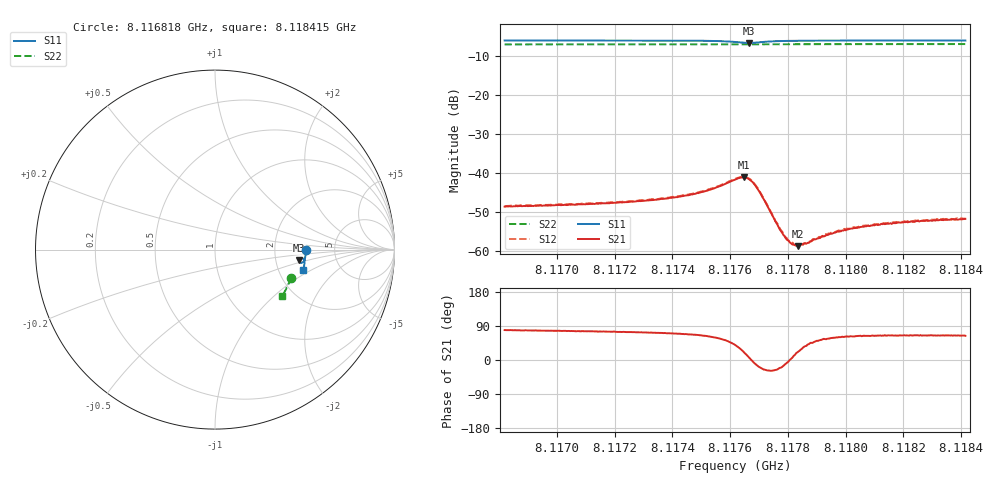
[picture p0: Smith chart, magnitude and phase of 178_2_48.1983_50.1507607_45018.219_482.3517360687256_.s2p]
#  HZ  S  RI  R  50.00
! Rohde & Schwarz Vector Network Analyzer
! Rohde-Schwarz,ZNB20-2Port,1311601062101988,3.16
! Created: UTC 3/20/2024, 11:44:01 AM
! freq[Hz]  re:S11  im:S11  re:S21  im:S21  re:S12  im:S12  re:S22  im:S22
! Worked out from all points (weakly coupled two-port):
!   401 points, 8.116818 GHz to 8.118415 GHz, reference 50 ohm
!   highest |S21| = -41.09 dB at 8.117649 GHz (marker M1); lowest = -58.8 dB at 8.117836 GHz (marker M2)
!   lowest |S11| = -6.6 dB at 8.117665 GHz (marker M3), VSWR 2.78, Z = 135 - j20.4 ohm
!   |S11| at or under -10 dB: nowhere
!   |S22| runs from -6.9 to -6.8 dB; largest |S21 - S12| = 0.00023
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8.1168185e9  0.5064 -0.00313  0.000708 0.00364  0.000766 0.00371  0.422 -0.1573
8.117086e9  0.5054 -0.0241  0.00095 0.00385  0.001 0.00394  0.4159 -0.175
8.1173534e9  0.5026 -0.0465  0.00147 0.00435  0.00156 0.0044  0.409 -0.1923
8.1174532e9  0.5001 -0.0564  0.00196 0.0048  0.00202 0.00488  0.406 -0.1988
8.1175131e9  0.4971 -0.0632  0.0026 0.00525  0.0027 0.0053  0.4042 -0.2027
8.1176169e9  0.4791 -0.0737  0.00633 0.00531  0.00652 0.00535  0.4004 -0.2092
8.1176488e9  0.4685 -0.0667  0.00831 0.00296  0.00846 0.00296  0.3992 -0.2105
8.1176648e9  0.4666 -0.0589  0.00832 0.00105  0.00848 0.000946  0.3987 -0.2114
8.1176808e9  0.4695 -0.0514  0.00742 -0.000749  0.00751 -0.000805  0.3985 -0.2119
8.1176967e9  0.4754 -0.0469  0.0059 -0.00174  0.00605 -0.00179  0.3983 -0.2128
8.1177247e9  0.4858 -0.0469  0.00364 -0.00183  0.00368 -0.00192  0.3978 -0.2145
8.1177646e9  0.4938 -0.0529  0.00196 -0.000895  0.00203 -0.000905  0.3971 -0.2173
8.1177885e9  0.4961 -0.0569  0.00151 -0.000341  0.00156 -0.000354  0.3963 -0.2188
8.1178125e9  0.4972 -0.0604  0.00124 8.41e-05  0.00126 9.5e-05  0.3957 -0.2206
8.1178364e9  0.498 -0.0638  0.00107 0.000435  0.00112 0.000455  0.3951 -0.2221
8.1178684e9  0.4985 -0.0677  0.000964 0.000829  0.000995 0.00083  0.394 -0.2241
8.1178843e9  0.4985 -0.0695  0.000957 0.000956  0.00101 0.000959  0.3935 -0.2251
8.1179402e9  0.4984 -0.0755  0.000898 0.00134  0.000913 0.0014  0.3917 -0.2286
8.1179961e9  0.498 -0.0806  0.000894 0.00163  0.000956 0.00167  0.3898 -0.2323
8.118072e9  0.497 -0.0873  0.000913 0.00186  0.000933 0.00191  0.3872 -0.2369
8.1181518e9  0.496 -0.094  0.000954 0.00203  0.001 0.00208  0.3846 -0.2417
8.1184153e9  0.4918 -0.1145  0.00114 0.00232  0.00115 0.00235  0.375 -0.2576
